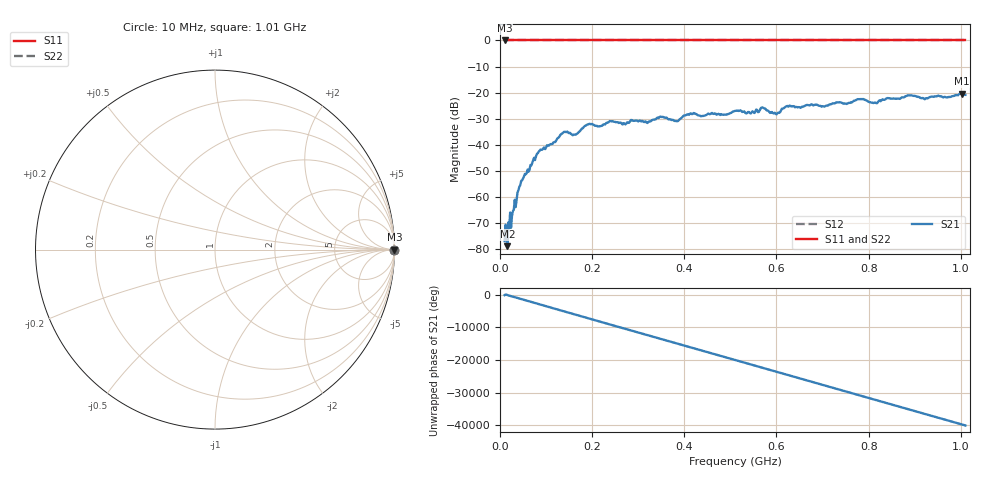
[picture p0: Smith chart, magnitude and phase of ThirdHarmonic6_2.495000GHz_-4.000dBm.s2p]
! 8/17/2025 4:44:43 AM
! C:\ANRITSUVNA\TEMP\TEMP.S2P
! CHANNEL.1
! TR.MEASUREMENT
! RAW.DATA
! RF.CORRECTION.OFF
! AVERAGING.OFF
! IF.BANDWIDTH: 5KHZ
! SWEEPTYPE:  FREQ.SWEEP(Linear)
! Reference Plane Port Info
! PORT:  PORT1  PORT2
! DISTANCE:  0  m  0  m
! TIME:  0  s  0  s
! PHASE.OFFSET:  0  deg.  0  deg.
! LOSS:  0  dB  0  dB
! REF.LOSS:  0  dB  0  dB
! REF.FREQ:  0  Hz  0  Hz
! Power Info
! POWER:  -20  dBm  -20  dBm
! EFF.POWER:  -20  dBm  -20  dBm
! SOURCE.ATTEN:  0  dB  0  dB
! TEST.ATTEN:  0  dB  0  dB
# GHZ S RI R 50.0
! FREQ.GHZ  S11RE  S11IM  S21RE  S21IM  S12RE  S12IM  S22RE  S22IM
!; PortSelection: Port_12
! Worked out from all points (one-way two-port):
!   501 points, 10 MHz to 1.01 GHz, reference 50 ohm
!   highest |S21| = -20.41 dB at 1.002 GHz (marker M1); lowest = -79.0 dB at 16 MHz (marker M2)
!   lowest |S11| = 0.0 dB at 10 MHz (marker M3)
!   |S11| at or under -10 dB: nowhere
!   |S22| runs from 0.0 to 0.0 dB; largest |S21 - S12| = 1.1
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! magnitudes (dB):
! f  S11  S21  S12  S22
! 10 MHz  0.0  -77.1  0.0  0.0
! 16 MHz  0.0  -79.0  0.0  0.0
! 20 MHz  0.0  -72.1  0.0  0.0
! 44 MHz  0.0  -55.6  0.0  0.0
! 84 MHz  0.0  -42.7  0.0  0.0
! 136 MHz  0.0  -35.6  0.0  0.0
! 162 MHz  0.0  -36.2  0.0  0.0
! 178 MHz  0.0  -33.8  0.0  0.0
! 194 MHz  0.0  -32.0  0.0  0.0
! 322 MHz  0.0  -31.3  0.0  0.0
! 344 MHz  0.0  -29.8  0.0  0.0
! 382 MHz  0.0  -30.9  0.0  0.0
! 416 MHz  0.0  -28.3  0.0  0.0
! 510 MHz  0.0  -27.1  0.0  0.0
! 570 MHz  0.0  -25.7  0.0  0.0
! 598 MHz  0.0  -28.1  0.0  0.0
! 624 MHz  0.0  -25.1  0.0  0.0
! 678 MHz  0.0  -24.7  0.0  0.0
! 814 MHz  0.0  -23.8  0.0  0.0
! 844 MHz  0.0  -22.2  0.0  0.0
! 1.002 GHz  0.0  -20.4  0.0  0.0
! 1.01 GHz  0.0  -20.9  0.0  0.0
